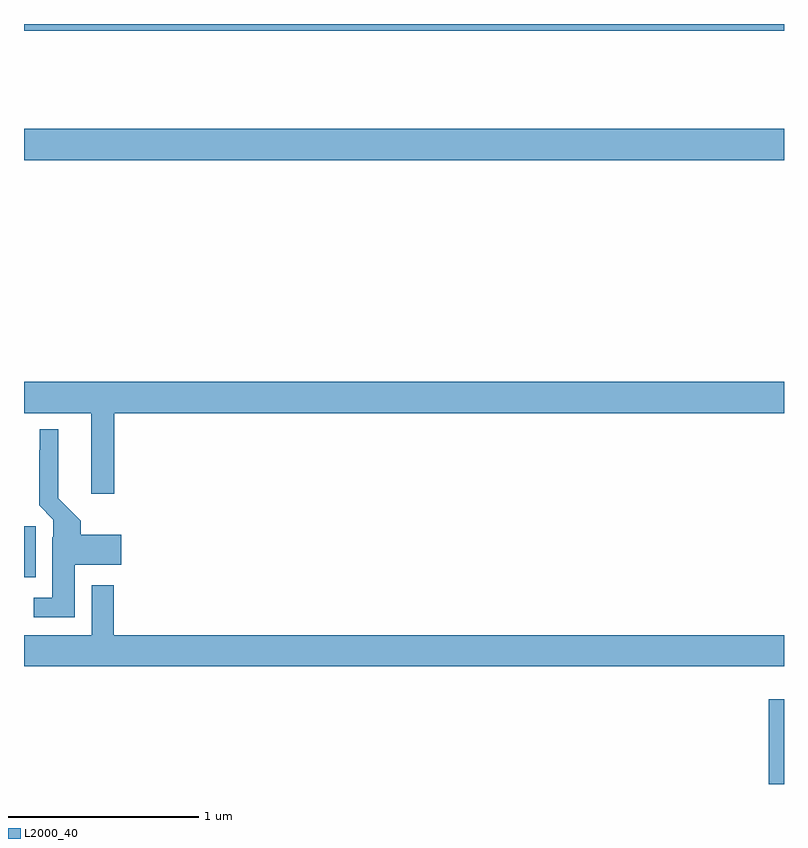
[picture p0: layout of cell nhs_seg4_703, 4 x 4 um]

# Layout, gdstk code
import gdstk
lib = gdstk.Library(unit=1e-6, precision=1e-09)
def R(c, l, rs):  # rectangles x0, y0, x1, y1
    for r in rs: c.add(gdstk.rectangle(r[:2], r[2:], *l))
def P(c, l, *ps):  # polygons
    for p in ps: c.add(gdstk.Polygon(p, *l))
L2000_40 = (2000, 40)

nhs_seg4_703 = lib.new_cell('nhs_seg4_703')
R(nhs_seg4_703, L2000_40, [(150.92,762.9,151,763.345), (147,763.989,147.061,764.257), (147,766.184,151,766.348), (147,766.864,151,766.9)])
P(nhs_seg4_703, L2000_40, [(147.476,764.852),(151,764.852),(151,765.016),(147,765.016),(147,764.852),(147.353,764.852),(147.353,764.427),(147.476,764.427)],
  [(147.268,764.054),(147.511,764.054),(147.511,764.212),(147.299,764.212),(147.299,764.286),(147.181,764.404),(147.181,764.767),(147.083,764.767),(147.083,764.657),(147.079,764.657),(147.079,764.366),(147.153,764.292),(147.153,764.198),(147.149,764.198),(147.149,763.879),(147.051,763.879),(147.051,763.778),(147.268,763.778)],
  [(151,763.684),(147.473,763.684),(147.473,763.945),(147.357,763.945),(147.357,763.684),(147,763.684),(147,763.52),(151,763.52)])

lib.write_gds('nhs_seg4_703.gds')
